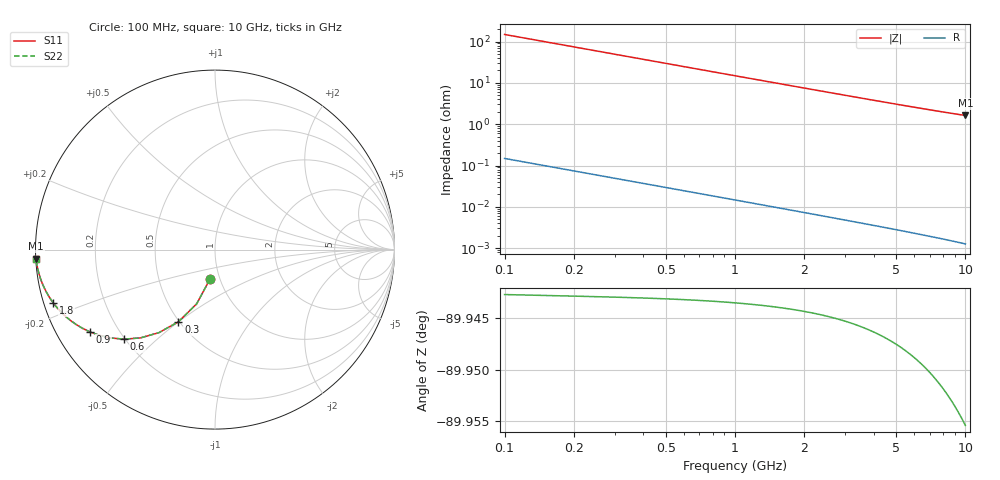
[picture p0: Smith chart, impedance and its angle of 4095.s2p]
# Hz S RI R 50.00
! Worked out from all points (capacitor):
!   100 points, 100 MHz to 10 GHz, reference 50 ohm
!   read as one part in shunt: C = 10.7 pF near 100 MHz
!   lowest |Z| = 1.63 ohm at 10 GHz (marker M1)
!   S11 on the Smith chart (normalised r, x): 100 MHz: 0.90, -0.30; 300 MHz: 0.49, -0.50; 600 MHz: 0.20, -0.40; 900 MHz: 0.10, -0.30; 1.8 GHz: 0.03, -0.16; 10 GHz: 0.00, -0.03
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1e8  -0.0278 -0.1638  0.9722 -0.1639  0.9722 -0.1639  -0.0278 -0.1638
2e8  -0.1023 -0.3024  0.8977 -0.3027  0.8977 -0.3027  -0.1023 -0.3024
3e8  -0.2038 -0.4022  0.7961 -0.4025  0.7961 -0.4025  -0.2038 -0.4022
4e8  -0.3126 -0.4628  0.6874 -0.4633  0.6874 -0.4633  -0.3126 -0.4628
5e8  -0.4151 -0.4919  0.5849 -0.4926  0.5849 -0.4926  -0.4151 -0.4919
6e8  -0.5052 -0.4991  0.4947 -0.4999  0.4947 -0.4999  -0.5052 -0.4991
7e8  -0.5814 -0.4924  0.4186 -0.4933  0.4186 -0.4933  -0.5814 -0.4924
8e8  -0.6444 -0.4777  0.3555 -0.4787  0.3555 -0.4787  -0.6444 -0.4777
9e8  -0.6962 -0.4588  0.3037 -0.46  0.3037 -0.46  -0.6962 -0.4588
1.1e9  -0.7737 -0.4172  0.2263 -0.4187  0.2263 -0.4187  -0.7737 -0.4172
1.3e9  -0.8266 -0.3772  0.1734 -0.3789  0.1734 -0.3789  -0.8266 -0.3772
1.5e9  -0.8637 -0.3416  0.1362 -0.3435  0.1362 -0.3435  -0.8637 -0.3416
1.8e9  -0.9011 -0.2968  0.0989 -0.2992  0.0989 -0.2992  -0.9011 -0.2968
2.1e9  -0.9253 -0.2611  0.0747 -0.2638  0.0747 -0.2638  -0.9253 -0.2611
2.5e9  -0.946 -0.2239  0.054 -0.2272  0.054 -0.2272  -0.946 -0.2239
2.9e9  -0.9592 -0.1953  0.0407 -0.1991  0.0407 -0.1991  -0.9592 -0.1953
3.4e9  -0.97 -0.1678  0.03 -0.1724  0.03 -0.1724  -0.97 -0.1678
4.2e9  -0.9801 -0.1362  0.0199 -0.1419  0.0199 -0.1419  -0.9801 -0.1362
5.1e9  -0.9864 -0.1116  0.0135 -0.1185  0.0135 -0.1185  -0.9864 -0.1116
6.7e9  -0.9921 -0.083  0.0078 -0.0922  0.0078 -0.0922  -0.9921 -0.083
8.4e9  -0.995 -0.0637  0.00488 -0.0753  0.00488 -0.0753  -0.995 -0.0637
1e10  -0.9965 -0.0508  0.00336 -0.0649  0.00336 -0.0649  -0.9965 -0.0508
